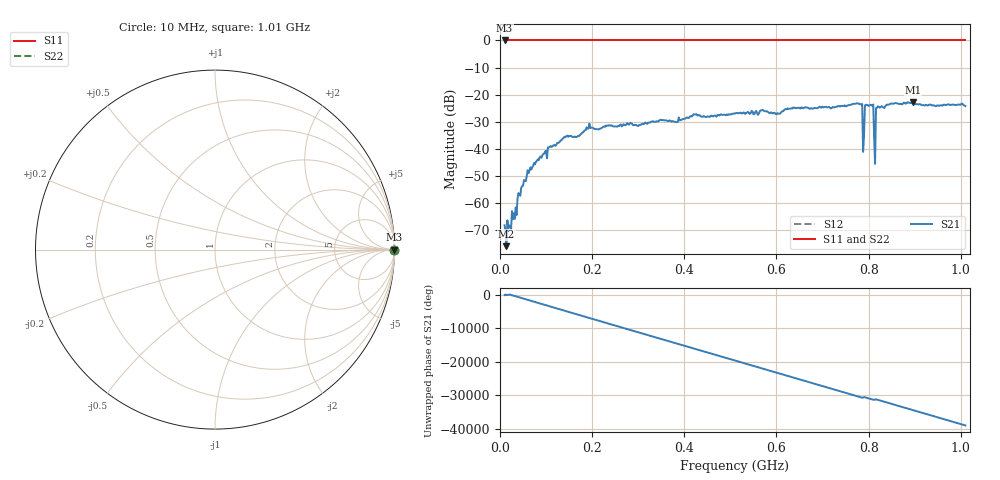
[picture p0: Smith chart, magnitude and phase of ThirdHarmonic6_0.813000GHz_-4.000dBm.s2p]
! 8/16/2025 3:03:07 AM
! C:\ANRITSUVNA\TEMP\TEMP.S2P
! CHANNEL.1
! TR.MEASUREMENT
! RAW.DATA
! RF.CORRECTION.OFF
! AVERAGING.OFF
! IF.BANDWIDTH: 5KHZ
! SWEEPTYPE:  FREQ.SWEEP(Linear)
! Reference Plane Port Info
! PORT:  PORT1  PORT2
! DISTANCE:  0  m  0  m
! TIME:  0  s  0  s
! PHASE.OFFSET:  0  deg.  0  deg.
! LOSS:  0  dB  0  dB
! REF.LOSS:  0  dB  0  dB
! REF.FREQ:  0  Hz  0  Hz
! Power Info
! POWER:  -20  dBm  -20  dBm
! EFF.POWER:  -20  dBm  -20  dBm
! SOURCE.ATTEN:  0  dB  0  dB
! TEST.ATTEN:  0  dB  0  dB
# GHZ S RI R 50.0
! FREQ.GHZ  S11RE  S11IM  S21RE  S21IM  S12RE  S12IM  S22RE  S22IM
!; PortSelection: Port_12
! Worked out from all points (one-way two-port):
!   501 points, 10 MHz to 1.01 GHz, reference 50 ohm
!   highest |S21| = -22.76 dB at 896 MHz (marker M1); lowest = -76.1 dB at 14 MHz (marker M2)
!   lowest |S11| = 0.0 dB at 10 MHz (marker M3)
!   |S11| at or under -10 dB: nowhere
!   |S22| runs from 0.0 to 0.0 dB; largest |S21 - S12| = 1.1
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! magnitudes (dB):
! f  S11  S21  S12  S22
! 10 MHz  0.0  -68.3  0.0  0.0
! 14 MHz  0.0  -76.1  0.0  0.0
! 32 MHz  0.0  -65.9  0.0  0.0
! 42 MHz  0.0  -57.0  0.0  0.0
! 64 MHz  0.0  -48.1  0.0  0.0
! 108 MHz  0.0  -39.3  0.0  0.0
! 178 MHz  0.0  -34.2  0.0  0.0
! 192 MHz  0.0  -32.5  0.0  0.0
! 344 MHz  0.0  -29.9  0.0  0.0
! 510 MHz  0.0  -27.1  0.0  0.0
! 678 MHz  0.0  -25.2  0.0  0.0
! 782 MHz  0.0  -23.6  0.0  0.0
! 786 MHz  0.0  -23.5  0.0  0.0
! 792 MHz  0.0  -24.0  0.0  0.0
! 796 MHz  0.0  -23.8  0.0  0.0
! 806 MHz  0.0  -23.9  0.0  0.0
! 810 MHz  0.0  -23.7  0.0  0.0
! 816 MHz  0.0  -25.1  0.0  0.0
! 820 MHz  0.0  -24.4  0.0  0.0
! 844 MHz  0.0  -23.7  0.0  0.0
! 896 MHz  0.0  -22.8  0.0  0.0
! 1.01 GHz  0.0  -24.3  0.0  0.0
